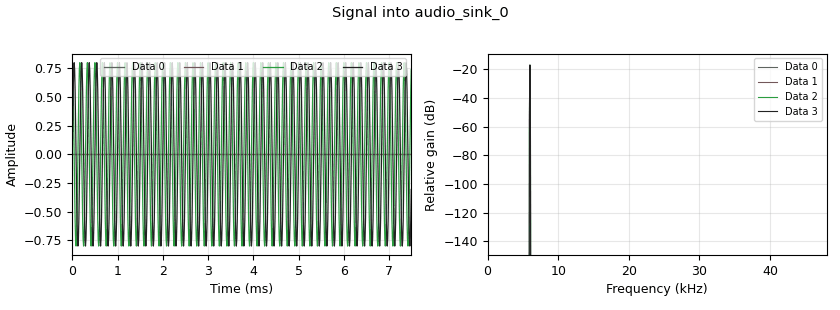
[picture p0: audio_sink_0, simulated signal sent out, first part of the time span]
<?xml version='1.0' encoding='utf-8'?>
<?grc format='1' created='3.7.13'?>
<flow_graph>
<block>
<key>options</key>
<param><key>id</key><value>top_block</value></param>
<param><key>generate_options</key><value>qt_gui</value></param>
</block>
<block>
<key>variable_qtgui_range</key>
<param><key>id</key><value>fc</value></param>
<param><key>value</key><value>6000</value></param>
<param><key>label</key><value>F_c</value></param>
<param><key>orient</key><value>Qt.Horizontal</value></param>
<param><key>start</key><value>20</value></param>
<param><key>step</key><value>10</value></param>
<param><key>stop</key><value>24000</value></param>
</block>
<block>
<key>variable</key>
<param><key>id</key><value>samp_rate</value></param>
<param><key>value</key><value>96000</value></param>
</block>
<block>
<key>analog_sig_source_x</key>
<param><key>id</key><value>analog_sig_source_x_0</value></param>
<param><key>amp</key><value>.8</value></param>
<param><key>freq</key><value>fc</value></param>
<param><key>offset</key><value>0</value></param>
<param><key>type</key><value>float</value></param>
<param><key>samp_rate</key><value>samp_rate</value></param>
<param><key>waveform</key><value>analog.GR_COS_WAVE</value></param>
</block>
<block>
<key>analog_sig_source_x</key>
<param><key>id</key><value>analog_sig_source_x_0_0</value></param>
<param><key>amp</key><value>.8</value></param>
<param><key>freq</key><value>fc</value></param>
<param><key>offset</key><value>0</value></param>
<param><key>type</key><value>float</value></param>
<param><key>samp_rate</key><value>samp_rate</value></param>
<param><key>waveform</key><value>analog.GR_SIN_WAVE</value></param>
</block>
<block>
<key>audio_sink</key>
<param><key>id</key><value>audio_sink_0</value></param>
<param><key>device_name</key><value>hw:USB,0</value></param>
<param><key>num_inputs</key><value>4</value></param>
<param><key>samp_rate</key><value>samp_rate</value></param>
</block>
<block>
<key>audio_source</key>
<param><key>id</key><value>audio_source_0</value></param>
<param><key>device_name</key><value>hw:USB,0</value></param>
<param><key>num_outputs</key><value>2</value></param>
<param><key>samp_rate</key><value>samp_rate</value></param>
</block>
<block>
<key>blocks_float_to_complex</key>
<param><key>id</key><value>blocks_float_to_complex_0</value></param>
</block>
<block>
<key>blocks_null_source</key>
<param><key>id</key><value>blocks_null_source_0</value></param>
<param><key>bus_conns</key><value>[[0,],]</value></param>
<param><key>type</key><value>float</value></param>
</block>
<block>
<key>import</key>
<param><key>id</key><value>import_0_0_0</value></param>
<param><key>import</key><value>import numpy as np</value></param>
</block>
<block>
<key>qtgui_const_sink_x</key>
<param><key>id</key><value>qtgui_const_sink_x_0</value></param>
<param><key>size</key><value>1024</value></param>
<param><key>type</key><value>complex</value></param>
</block>
<connection><source_block_id>analog_sig_source_x_0</source_block_id><sink_block_id>audio_sink_0</sink_block_id><source_key>0</source_key><sink_key>2</sink_key></connection>
<connection><source_block_id>analog_sig_source_x_0_0</source_block_id><sink_block_id>audio_sink_0</sink_block_id><source_key>0</source_key><sink_key>3</sink_key></connection>
<connection><source_block_id>audio_source_0</source_block_id><sink_block_id>blocks_float_to_complex_0</sink_block_id><source_key>0</source_key><sink_key>0</sink_key></connection>
<connection><source_block_id>audio_source_0</source_block_id><sink_block_id>blocks_float_to_complex_0</sink_block_id><source_key>1</source_key><sink_key>1</sink_key></connection>
<connection><source_block_id>blocks_float_to_complex_0</source_block_id><sink_block_id>qtgui_const_sink_x_0</sink_block_id><source_key>0</source_key><sink_key>0</sink_key></connection>
<connection><source_block_id>blocks_null_source_0</source_block_id><sink_block_id>audio_sink_0</sink_block_id><source_key>0</source_key><sink_key>0</sink_key></connection>
<connection><source_block_id>blocks_null_source_0</source_block_id><sink_block_id>audio_sink_0</sink_block_id><source_key>0</source_key><sink_key>1</sink_key></connection>
</flow_graph>
